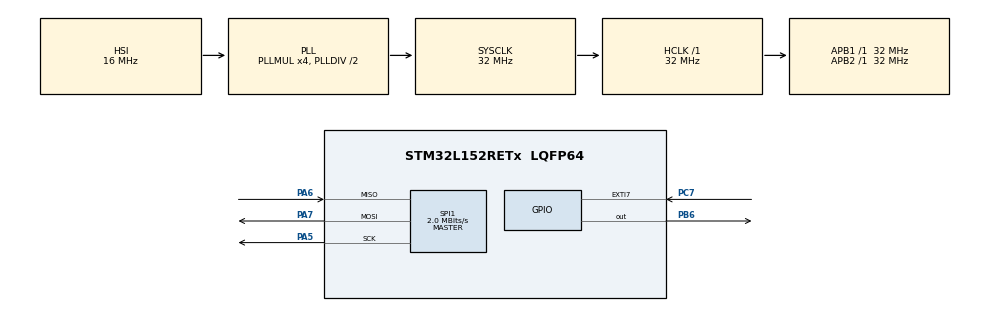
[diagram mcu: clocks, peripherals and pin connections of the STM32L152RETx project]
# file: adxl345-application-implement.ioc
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Mcu.Family=STM32L1
Mcu.Name=STM32L152RETx
Mcu.Package=LQFP64
NVIC.EXTI9_5_IRQn=true\:0\:0\:false\:false\:true\:true\:true\:true
NVIC.PriorityGroup=NVIC_PRIORITYGROUP_4
PA13.Mode=Trace_Asynchronous_SW
PA13.Signal=SYS_JTMS-SWDIO
PA14.Mode=Trace_Asynchronous_SW
PA14.Signal=SYS_JTCK-SWCLK
PA5.Mode=Full_Duplex_Master
PA5.Signal=SPI1_SCK
PA6.Mode=Full_Duplex_Master
PA6.Signal=SPI1_MISO
PA7.Mode=Full_Duplex_Master
PA7.Signal=SPI1_MOSI
PB3.Mode=Trace_Asynchronous_SW
PB3.Signal=SYS_JTDO-TRACESWO
PB6.Signal=GPIO_Output
PC7.GPIO_ModeDefaultEXTI=GPIO_MODE_IT_RISING
PC7.GPIO_PuPd=GPIO_NOPULL
PC7.Signal=GPXTI7
ProjectManager.HeapSize=0x200
ProjectManager.StackSize=0x400
ProjectManager.TargetToolchain=STM32CubeIDE
RCC.48MHZClocksFreq_Value=32000000
RCC.AHBFreq_Value=32000000
RCC.APB1Freq_Value=32000000
RCC.APB1TimFreq_Value=32000000
RCC.APB2Freq_Value=32000000
RCC.APB2TimFreq_Value=32000000
RCC.HCLKFreq_Value=32000000
RCC.HSE_VALUE=24000000
RCC.HSI_VALUE=16000000
RCC.LSE_VALUE=32768
RCC.MSI_VALUE=2097000
RCC.PLLMUL=RCC_PLL_MUL4
RCC.SYSCLKFreq_VALUE=32000000
RCC.SYSCLKSource=RCC_SYSCLKSOURCE_PLLCLK
RCC.VCOOutputFreq_Value=64000000
SPI1.BaudRatePrescaler=SPI_BAUDRATEPRESCALER_16
SPI1.CLKPhase=SPI_PHASE_2EDGE
SPI1.CLKPolarity=SPI_POLARITY_HIGH
SPI1.CalculateBaudRate=2.0 MBits/s
SPI1.Direction=SPI_DIRECTION_2LINES
SPI1.Mode=SPI_MODE_MASTER
SPI1.VirtualType=VM_MASTER
board=custom

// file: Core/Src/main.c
/* USER CODE BEGIN Header */
/**
  ******************************************************************************
  * @file           : main.c
  * @brief          : Main program body
  ******************************************************************************
  * @attention
  *
  * Copyright (c) 2024 STMicroelectronics.
  * All rights reserved.
  *
  * This software is licensed under terms that can be found in the LICENSE file
  * in the root directory of this software component.
  * If no LICENSE file comes with this software, it is provided AS-IS.
  *
  ******************************************************************************
  */
/* USER CODE END Header */
#include "main.h"

/* USER CODE BEGIN Includes */
#include <stdio.h>
#include <math.h>
/* USER CODE END Includes */

SPI_HandleTypeDef hspi1;

void SystemClock_Config(void);
static void MX_GPIO_Init(void);
static void MX_SPI1_Init(void);
/* USER CODE BEGIN PFP */
int _write(int32_t file, uint8_t *ptr, int32_t len)
{
    for (int i = 0; i < len; i++)
    {
        ITM_SendChar(*ptr++);
    }
    return len;
}
/* USER CODE END PFP */

/* USER CODE BEGIN 0 */

uint8_t XData[2];
uint8_t YData[2];
uint8_t ZData[2];

int16_t x,y,z;
uint8_t chipID = 0;
float xg, yg, zg;

float prevBasePosition = 0;
char prevAxis = ' ';
const float CHANGE_THRESHOLD = 0.3; // Adjust this threshold as needed

uint8_t int_source = 0;

int count = 0 ;

// Device Registers for ADXL345 Accelerometer
uint8_t DEVICE			= 0x00 ;	// Device ID
uint8_t THRESH_TAP		= 0x1D ;	// Tap threshold
uint8_t OFSX			= 0x1D ;	// X-axis offset
uint8_t OFSY			= 0x1E ;	// Y-axis offset
uint8_t OFSZ			= 0x20 ;	// Z-axis offset
uint8_t DUR				= 0x21 ;	// Tap duration
uint8_t Latent			= 0x22 ;	// Tap latency
uint8_t Window			= 0x23 ;	// Tap window
uint8_t THRESH_ACT		= 0x24 ;	// Activity threshold
uint8_t THRESH_INACT	= 0x25 ; 	// Inactivity threshold
uint8_t TIME_INACT		= 0x26 ;	// Inactivity time
uint8_t ACT_INACT_CTL	= 0x27 ; 	// Axis enable control for activity inactivity detection
uint8_t THRESH_FF		= 0x28 ; 	// Free-fall threshold
uint8_t TIME_FF			= 0x29 ; 	// Free-fall time
uint8_t TAP_AXES		= 0x2A ; 	// Axis control for single tap/double tap
uint8_t ACT_TAP_STATUS	= 0x2B ; 	// Source of single tap/double tap
uint8_t BW_RATE			= 0x2C ; 	// Data rate and power mode control
uint8_t POWER_CTL		= 0x2D ; 	// Power-saving features control
uint8_t INT_ENABLE     	= 0x2E ; 	// Interrupt enable control
uint8_t INT_MAP         = 0x2F ; 	// Interrupt mapping control
uint8_t INT_SOURCE      = 0x30 ; 	// Source of interrupts
uint8_t DATA_FORMAT     = 0x31 ; 	// Data format control
uint8_t DATAX0          = 0x32 ; 	// X-axis data 0
uint8_t DATAX1          = 0x33 ; 	// X-axis data 1
uint8_t DATAY0          = 0x34 ; 	// Y-axis data 0
uint8_t DATAY1          = 0x35 ; 	// Y-axis data 1
uint8_t DATAZ0          = 0x36 ; 	// Z-axis data 0
uint8_t DATAZ1          = 0x37 ; 	// Z-axis data 1
uint8_t FIFO_CTL        = 0x38 ; 	// FIFO control
uint8_t FIFO_STATUS     = 0x39 ; 	// FIFO status

/**
 * To read Polling.
 * - Write to
 */

void adxl_write (uint8_t Reg, uint8_t data)
{
	uint8_t writeBuf[2];
	writeBuf[0] = Reg|0x40;  // multi-byte write enabled
	writeBuf[1] = data;
	HAL_GPIO_WritePin (GPIOB, GPIO_PIN_6, GPIO_PIN_RESET); // pull the cs pin low to enable the slave
	HAL_SPI_Transmit (&hspi1, writeBuf, 2, 100);  // transmit the address and data
	HAL_GPIO_WritePin (GPIOB, GPIO_PIN_6, GPIO_PIN_SET); // pull the cs pin high to disable the slave
}

void adxl_read (uint8_t Reg, uint8_t *Buffer, size_t len)
{
	Reg |= 0x80;  // read operation
	Reg |= 0x40;  // multi-byte read
	HAL_GPIO_WritePin (GPIOB, GPIO_PIN_6, GPIO_PIN_RESET);  // pull the CS pin low to enable the slave
	HAL_SPI_Transmit (&hspi1, &Reg, 1, 100);  // send the address from where you want to read data
	HAL_SPI_Receive (&hspi1, Buffer, len, 100);  // read 6 BYTES of data
	HAL_GPIO_WritePin (GPIOB, GPIO_PIN_6, GPIO_PIN_SET);  // pull the CS pin high to disable the slave
}

void HAL_GPIO_EXTI_Callback(uint16_t GPIO_Pin)
{
    if (GPIO_Pin == GPIO_PIN_7)
    {
//        printf("Interrupt detected\n");
        uint8_t int_source;
        adxl_read(INT_SOURCE, &int_source, 1);

        if (int_source & (1 << 3)){
        	printf("Inactivity detected.\n");
        }
        else if (int_source & (1 << 4)){
            printf("Activity detected.\n");
        }
        else if (int_source & (1 << 5)){
        	printf("Double Tap detected.\n");
        }
        else if (int_source & (1 << 6)){
        	printf("Single Tap detected.\n");
        }

    }
}

void adxl_init (void)
{
	adxl_read(DEVICE, &chipID, 1);
	if (chipID == 0xE5)
	{
		adxl_write (POWER_CTL, 0x00);		// Standby mode for initialize. (Reset all Bits.)

		// Low Power mode from 12.5 Hz to 400 Hz.
		// 000[1][1100] = 0x1C = 400  Hz
		// 000[1][1011] = 0x1B = 200  Hz
<<<<<<< HEAD
		// 000[1][1010] = 0x1A = 100  Hz
		// 000[1][1001] = 0x19 = 50   Hz
		// 000[1][1000] = 0x18 = 25   Hz
		// 000[1][0111] = 0x17 = 12.5 Hz
		adxl_write (BW_RATE, 0x1C);
=======
		// 000[1][1010] = 0x0A = 100  Hz
		// 000[1][1001] = 0x09 = 50   Hz
		// 000[1][1000] = 0x08 = 25   Hz
		// 000[1][0111] = 0x07 = 12.5 Hz
		adxl_write (BW_RATE, 0x0D);			// Disable sleep mode and Output Data Rate 800Hz
>>>>>>> 1388c7355fde297f17071e84d84e8692889d54a7

	////////// DATA FORMAT //////////
		// 00[0]01011		Set the interrupt to active high
		// 0000[1]011		Set in full resolution mode
		// 00001[0]11		Set in the right-justified mode
		// 000010[11]		Set the g range in // ±16 g
		adxl_write (DATA_FORMAT, 0x0B);

	////////// OFFSET CALIBRATION //////////
		// The scale factor of offset is 15.6mg/LSB = 0.0156g/LSB
		// x_avg (100 samples) = -0.04989g
		// y_avg (100 samples) = -0.03662g
		// z_avg (100 samples) = 0.946931g
		adxl_write (OFSX, 0x03);			// Set offset x-axis 3 x 0.0156g = +0.0468g
		adxl_write (OFSY, 0x03);			// Set offset y-axis 3 x 0.0156g = +0.0468g
		adxl_write (OFSZ, 0x03);			// Set offset z-axis 3 x 0.0156g = +0.0468g

	////////// TAP DETECTION //////////
		// Threshold tap, the scale factor is 62.5mg/LSB = 0.0625g/LSB
		adxl_write (THRESH_TAP, 0x18);		// Set threshold 24 x 0.0625 = 1.5g
//		adxl_write (THRESH_TAP, 0xFF);		// Set threshold 255 x 0.0625 = 15.9375g (Maximum)
		// Tap duration, the scale factor is 625us/LSB = 0.625ms/LSB
		adxl_write (DUR, 0x50);				// Set duration 80 x 0.625ms = 50ms
		// Tap latency, the scale factor is 1.25ms/LSB
		adxl_write (Latent, 0x20);			// Set latency 32 x 1.25ms = 40ms
		// Tap Window, the scale factor is 1.25ms/LSB
		adxl_write (Window, 0xF0);			// Set window 240 x 1.25ms = 300ms
		// Tap Axes control
		adxl_write (TAP_AXES, 0x01),		// Enable z-axis for detect tap function

	////////// ACTIVITY ANS INACTIVITY DETECTION //////////
		// Threshold activity, the scale factor is 62.5mg/LSB = 0.0625g/LSB
		adxl_write (THRESH_ACT, 0x03);		// set threshold activity 3 x 0.0625g = 0.1875g
//		adxl_write (THRESH_ACT, 0x05);		// set threshold activity 4 x 0.0625g = 0.25g
		// Threshold inactivity, The scale factor of is 62.5mg/LSB = 0.0625g/LSB
		adxl_write (THRESH_INACT, 0x02);	// set threshold inactivity 2 x 0.0625g = 0.125g
//		adxl_write (THRESH_INACT, 0x05);	// set threshold inactivity 4 x 0.0625g = 0.25g
		// Time inactivity, the scale factor is 1sec/LSB
		adxl_write (TIME_INACT, 0x05);		// set time inactivity 5 x 1sec = 5sec
		// Control activity detection axis
		// ACT_ACT_CTL 0x60: 0110 0000 DC-coupled and detected X and Y axis
		// ACT_INACT_CTL 0x06: 0000 0110 DC-coupled and detected X and Y axis
		adxl_write (ACT_INACT_CTL, 0x66);

	////////// INTERRUPTS //////////
		adxl_write (INT_ENABLE, 0x00);		// Clear interrupt functions
		adxl_write (INT_MAP, 0x78);			// Set Single-Double Tap and Activity-Inactivity INIT2
		adxl_write (INT_ENABLE, 0x78);		// Enable interrupt tap, activity and inactivity functions

	////////// POWER CONTROL //////////
		// 00[1]11000		Enable the link bit
		// 001[1]1000		Enable the  AUTO-SLEEP bit
		// 0011[1]000		Change Power mode to Measurement mode
		adxl_write (POWER_CTL, 0x38);
		HAL_Delay(500);
	}
}

<<<<<<< HEAD
=======
// Dynamic Base Position Calibration (Continue Polling)
//void setBasePosition(float x, float y, float z)
//{
//    float absX = fabs(x);
//    float absY = fabs(y);
//    float absZ = fabs(z);
//
//    float basePosition = 0; // To store the final base position
//    char axis = ' ';        // To identify which axis is selected
//
//    // Dynamically choose the dominant axis
//    if (absX >= absY && absX >= absZ)
//    {
//        basePosition = x;
//        axis = 'X';
//    }
//    else if (absY >= absX && absY >= absZ)
//    {
//        basePosition = y;
//        axis = 'Y';
//    }
//    else if (absZ >= absX && absZ >= absY)
//    {
//        basePosition = z;
//        axis = 'Z';
//    }
//
//    // Output the result
//    printf("Setting %c as the Base Position: %.2f\n", axis, basePosition);
//}

// Dynamic Base Position Calibration (Callback Polling)
>>>>>>> 1388c7355fde297f17071e84d84e8692889d54a7
void setBasePosition(float x, float y, float z)
{
    float absX = fabs(x);
    float absY = fabs(y);
    float absZ = fabs(z);

<<<<<<< HEAD
    float basePosition = 0; // To store the final base position
    char axis = ' ';        // To identify which axis is selected

    // Dynamically choose the dominant axis
    if (absX >= absY && absX >= absZ)
    {
        basePosition = x;
        axis = 'X';
    }
    else if (absY >= absX && absY >= absZ)
    {
        basePosition = y;
        axis = 'Y';
    }
    else if (absZ >= absX && absZ >= absY)
    {
        basePosition = z;
        axis = 'Z';
    }

    // Output the result
//    printf("Setting %c as the Base Position: %.2f\n", axis, basePosition);
}

=======
    float currentBasePosition = 0;
    char currentAxis = ' ';

    if (absX >= absY && absX >= absZ)
    {
        currentBasePosition = x;
        currentAxis = 'X';
    }
    else if (absY >= absX && absY >= absZ)
    {
        currentBasePosition = y;
        currentAxis = 'Y';
    }
    else if (absZ >= absX && absZ >= absY)
    {
        currentBasePosition = z;
        currentAxis = 'Z';
    }

    // Check if there's a significant change in position or axis
    if (currentAxis != prevAxis || fabs(currentBasePosition - prevBasePosition) > CHANGE_THRESHOLD)
    {
        printf("Position Changed (%c) axis is now dominant: %.2f\n", currentAxis, currentBasePosition);

        prevAxis = currentAxis;
        prevBasePosition = currentBasePosition;
    }
}

>>>>>>> 1388c7355fde297f17071e84d84e8692889d54a7
void adxl_read_data (void)
{
	adxl_read (DATAX0, XData, 2);
	adxl_read (DATAY0, YData, 2);
	adxl_read (DATAZ0, ZData, 2);

	x = ((XData[1] << 8) | XData[0]);
	y = ((YData[1] << 8) | YData[0]);
	z = ((ZData[1] << 8) | ZData[0]);

	// Convert into 'g'
	xg = (float)x*0.0039 ;
	yg = (float)y*0.0039 ;
	zg = (float)z*0.0039 ;

	setBasePosition(xg,yg,zg);

<<<<<<< HEAD
	HAL_Delay(10);
=======
	HAL_Delay(100);
>>>>>>> 1388c7355fde297f17071e84d84e8692889d54a7
}

/***
 * Function to read the Bad Detection by changing the detect the angle of delta.
 *
 * The concept read the angle delta is by convert the coordinate from Cartesian to Spherical.
 */
void Detect_Bad_Tilt(float x_g, float y_g, float z_g)
{
	float theta_angle, psi_angle, phi_angle;
	float theta_deg, psi_deg, phi_deg;

	// REF an-1057
	theta_angle = atan(x_g / sqrt((y_g * y_g) + (z_g * z_g)));
	psi_angle = atan(y_g /sqrt((x_g * x_g) + (z_g * z_g)) );
    phi_angle = atan(sqrt((x_g * x_g) + (y_g * y_g)) / z_g);

	theta_deg = theta_angle * (180/3.14);
	psi_deg = psi_angle * (180/3.14);
	phi_deg = phi_angle * (180/3.14);

//	printf("Theta = %.2f	| 	Psi = %.2f 	|	Phi = %.2f\r\n", theta_deg, psi_deg, phi_deg);

	// Theta range: 30-90 degrees
	if (theta_deg >= 30.0 && theta_deg <= 90.0){
		// theta range: 30-90 degrees
		printf("Fly Motor. \r\n");
	}
	// Psi range: 40-60 degrees or Phi range: 40-60 degrees
	else if ((psi_deg >= 40.0 && psi_deg <= 60.0) || (phi_deg >= 40.0 && phi_deg <= 60.0) ){
		printf("Draft Motor. \r\n");
	}
}

/* USER CODE END 0 */

int main(void)
{

  /* MCU Configuration--------------------------------------------------------*/

  /* Reset of all peripherals, Initializes the Flash interface and the Systick. */
  HAL_Init();

  /* Configure the system clock */
  SystemClock_Config();

  /* Initialize all configured peripherals */
  MX_GPIO_Init();
  MX_SPI1_Init();
  /* USER CODE BEGIN 2 */
  adxl_init();
  /* USER CODE END 2 */

  /* Infinite loop */
  while (1)
  {

    /* USER CODE BEGIN 3 */
	  adxl_read_data();

//	  Detect_Bad_Tilt(x,y,z);

  }
  /* USER CODE END 3 */
}

void SystemClock_Config(void)
{
  RCC_OscInitTypeDef RCC_OscInitStruct = {0};
  RCC_ClkInitTypeDef RCC_ClkInitStruct = {0};

  /** Configure the main internal regulator output voltage
  */
  __HAL_PWR_VOLTAGESCALING_CONFIG(PWR_REGULATOR_VOLTAGE_SCALE1);

  /** Initializes the RCC Oscillators according to the specified parameters
  * in the RCC_OscInitTypeDef structure.
  */
  RCC_OscInitStruct.OscillatorType = RCC_OSCILLATORTYPE_HSI;
  RCC_OscInitStruct.HSIState = RCC_HSI_ON;
  RCC_OscInitStruct.HSICalibrationValue = RCC_HSICALIBRATION_DEFAULT;
  RCC_OscInitStruct.PLL.PLLState = RCC_PLL_ON;
  RCC_OscInitStruct.PLL.PLLSource = RCC_PLLSOURCE_HSI;
  RCC_OscInitStruct.PLL.PLLMUL = RCC_PLL_MUL4;
  RCC_OscInitStruct.PLL.PLLDIV = RCC_PLL_DIV2;
  if (HAL_RCC_OscConfig(&RCC_OscInitStruct) != HAL_OK)
  {
    Error_Handler();
  }

  /** Initializes the CPU, AHB and APB buses clocks
  */
  RCC_ClkInitStruct.ClockType = RCC_CLOCKTYPE_HCLK|RCC_CLOCKTYPE_SYSCLK
                              |RCC_CLOCKTYPE_PCLK1|RCC_CLOCKTYPE_PCLK2;
  RCC_ClkInitStruct.SYSCLKSource = RCC_SYSCLKSOURCE_PLLCLK;
  RCC_ClkInitStruct.AHBCLKDivider = RCC_SYSCLK_DIV1;
  RCC_ClkInitStruct.APB1CLKDivider = RCC_HCLK_DIV1;
  RCC_ClkInitStruct.APB2CLKDivider = RCC_HCLK_DIV1;

  if (HAL_RCC_ClockConfig(&RCC_ClkInitStruct, FLASH_LATENCY_1) != HAL_OK)
  {
    Error_Handler();
  }
}

static void MX_SPI1_Init(void)
{

  /* SPI1 parameter configuration*/
  hspi1.Instance = SPI1;
  hspi1.Init.Mode = SPI_MODE_MASTER;
  hspi1.Init.Direction = SPI_DIRECTION_2LINES;
  hspi1.Init.DataSize = SPI_DATASIZE_8BIT;
  hspi1.Init.CLKPolarity = SPI_POLARITY_HIGH;
  hspi1.Init.CLKPhase = SPI_PHASE_2EDGE;
  hspi1.Init.NSS = SPI_NSS_SOFT;
  hspi1.Init.BaudRatePrescaler = SPI_BAUDRATEPRESCALER_16;
  hspi1.Init.FirstBit = SPI_FIRSTBIT_MSB;
  hspi1.Init.TIMode = SPI_TIMODE_DISABLE;
  hspi1.Init.CRCCalculation = SPI_CRCCALCULATION_DISABLE;
  hspi1.Init.CRCPolynomial = 10;
  if (HAL_SPI_Init(&hspi1) != HAL_OK)
  {
    Error_Handler();
  }

}

static void MX_GPIO_Init(void)
{
  GPIO_InitTypeDef GPIO_InitStruct = {0};

  /* GPIO Ports Clock Enable */
  __HAL_RCC_GPIOA_CLK_ENABLE();
  __HAL_RCC_GPIOC_CLK_ENABLE();
  __HAL_RCC_GPIOB_CLK_ENABLE();

  /*Configure GPIO pin Output Level */
  HAL_GPIO_WritePin(GPIOB, GPIO_PIN_6, GPIO_PIN_RESET);

  /*Configure GPIO pin : PC7 */
  GPIO_InitStruct.Pin = GPIO_PIN_7;
  GPIO_InitStruct.Mode = GPIO_MODE_IT_RISING;
  GPIO_InitStruct.Pull = GPIO_NOPULL;
  HAL_GPIO_Init(GPIOC, &GPIO_InitStruct);

  /*Configure GPIO pin : PB6 */
  GPIO_InitStruct.Pin = GPIO_PIN_6;
  GPIO_InitStruct.Mode = GPIO_MODE_OUTPUT_PP;
  GPIO_InitStruct.Pull = GPIO_NOPULL;
  GPIO_InitStruct.Speed = GPIO_SPEED_FREQ_LOW;
  HAL_GPIO_Init(GPIOB, &GPIO_InitStruct);

  /* EXTI interrupt init*/
  HAL_NVIC_SetPriority(EXTI9_5_IRQn, 0, 0);
  HAL_NVIC_EnableIRQ(EXTI9_5_IRQn);

}

void Error_Handler(void)
{
  __disable_irq();
  while (1)
  {
  }
}
